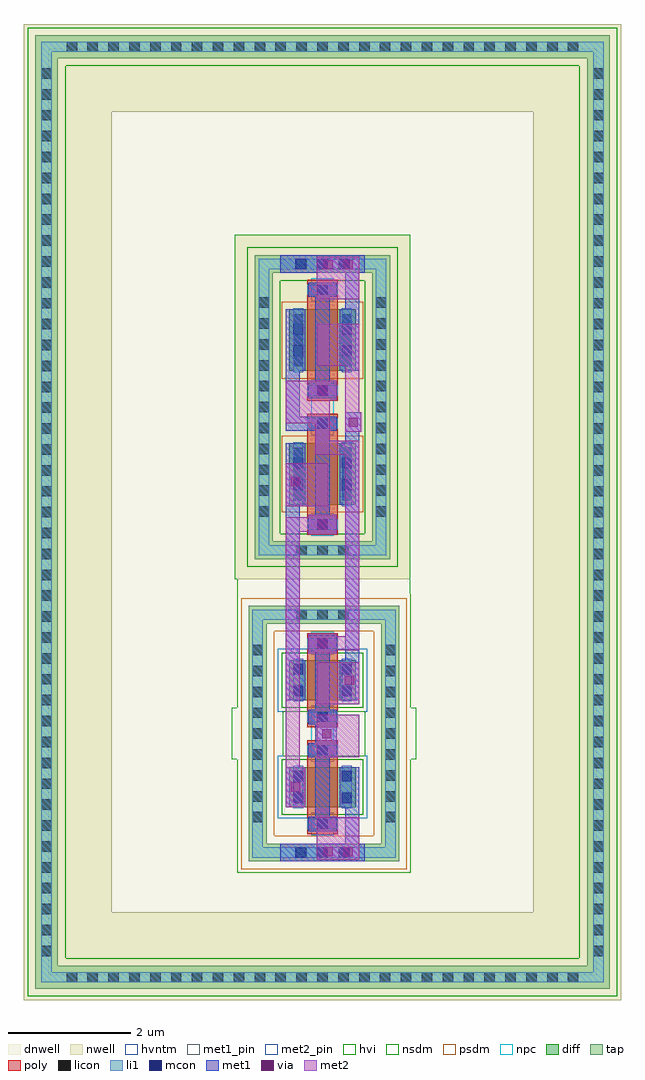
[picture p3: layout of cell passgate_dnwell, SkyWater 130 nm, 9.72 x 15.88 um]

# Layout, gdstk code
from math import pi, radians
import gdstk
lib = gdstk.Library(unit=1e-6, precision=1e-09)
def R(c, l, rs):  # rectangles x0, y0, x1, y1
    for r in rs: c.add(gdstk.rectangle(r[:2], r[2:], *l))
def A(c, l, x, y, w, h, nx, ny, dx, dy):  # array of equal rectangles
    R(c, l, [(x+i*dx, y+j*dy, x+i*dx+w, y+j*dy+h) for i in range(nx) for j in range(ny)])
dnwell = (64, 18)
nwell = (64, 20)
diff = (65, 20)
tap = (65, 44)
poly = (66, 20)
licon = (66, 44)
li1 = (67, 20)
mcon = (67, 44)
met1_pin = (68, 16)
met1 = (68, 20)
via = (68, 44)
met2_pin = (69, 16)
met2 = (69, 20)
hvi = (75, 20)
nsdm = (93, 44)
psdm = (94, 20)
npc = (95, 20)
hvntm = (125, 20)

transistor_quartet_singl = lib.new_cell('transistor_quartet_single')
R(transistor_quartet_singl, nwell, [(-0.24,4.77,2.62,10.38)])
R(transistor_quartet_singl, diff, [(0.65,1.065,1.73,1.715), (0.65,2.805,1.73,3.455), (0.65,5.985,1.73,6.985), (0.65,8.165,1.73,9.165)])
R(transistor_quartet_singl, tap, [(-0.01,0.18,2.44,0.47), (-0.01,0.47,0.28,4.05), (2.15,0.47,2.44,4.05), (-0.01,4.05,2.44,4.34), (0.09,5.1,2.29,5.39), (0.09,5.39,0.38,9.76), (2,5.39,2.29,9.76), (0.09,9.76,2.29,10.05)])
R(transistor_quartet_singl, poly, [(0.94,0.625,1.44,2.155), (0.94,2.365,1.44,3.895), (0.94,5.5,1.44,7.47), (0.94,7.68,1.44,9.65)])
A(transistor_quartet_singl, licon, 0.765, 0.24, 0.17, 0.17, 3, 2, 0.34, 3.87)
A(transistor_quartet_singl, licon, 0.05, 0.815, 0.17, 0.17, 1, 9, 0, 0.34)
A(transistor_quartet_singl, licon, 2.21, 0.815, 0.17, 0.17, 1, 9, 0, 0.34)
A(transistor_quartet_singl, licon, 0.765, 5.16, 0.17, 0.17, 3, 2, 0.34, 4.66)
A(transistor_quartet_singl, licon, 0.15, 5.79, 0.17, 0.17, 1, 11, 0, 0.34)
A(transistor_quartet_singl, licon, 2.06, 5.79, 0.17, 0.17, 1, 11, 0, 0.34)
A(transistor_quartet_singl, licon, 0.71, 6.06, 0.17, 0.17, 1, 3, 0, 0.34)
A(transistor_quartet_singl, licon, 1.5, 6.06, 0.17, 0.17, 1, 3, 0, 0.34)
A(transistor_quartet_singl, licon, 0.71, 8.24, 0.17, 0.17, 1, 3, 0, 0.34)
A(transistor_quartet_singl, licon, 1.5, 8.24, 0.17, 0.17, 1, 3, 0, 0.34)
R(transistor_quartet_singl, licon, [(1.105,0.705,1.275,0.875), (0.71,1.135,0.88,1.305), (1.5,1.135,1.67,1.305), (0.71,1.475,0.88,1.645), (1.5,1.475,1.67,1.645), (1.105,1.905,1.275,2.075), (1.105,2.445,1.275,2.615), (0.71,2.875,0.88,3.045), (1.5,2.875,1.67,3.045), (0.71,3.215,0.88,3.385), (1.5,3.215,1.67,3.385), (1.105,3.645,1.275,3.815), (1.105,5.58,1.275,5.75), (1.105,7.22,1.275,7.39), (1.105,7.76,1.275,7.93), (1.105,9.4,1.275,9.57)])
R(transistor_quartet_singl, li1, [(0.05,0.24,2.38,0.41), (0.05,0.41,0.22,4.11), (2.21,0.41,2.38,4.11), (0.94,0.705,1.44,0.875), (0.71,1.045,0.88,1.735), (1.5,1.045,1.67,1.735), (0.94,1.905,1.44,2.075), (0.94,2.445,1.44,2.615), (0.71,2.785,0.88,3.475), (1.5,2.785,1.67,3.475), (0.94,3.645,1.44,3.815), (0.05,4.11,2.38,4.28), (0.15,5.16,2.23,5.33), (0.15,5.33,0.32,9.82), (2.06,5.33,2.23,9.82), (0.94,5.58,1.44,5.75), (0.71,5.965,0.88,7.005), (1.5,5.965,1.67,7.005), (0.94,7.22,1.44,7.39), (0.94,7.76,1.44,7.93), (0.71,8.145,0.88,9.185), (1.5,8.145,1.67,9.185), (0.94,9.4,1.44,9.57), (0.15,9.82,2.23,9.99)])
A(transistor_quartet_singl, mcon, 0.745, 0.24, 0.17, 0.17, 3, 2, 0.36, 9.58)
R(transistor_quartet_singl, mcon, [(1.105,0.705,1.275,0.875), (0.71,1.125,0.88,1.295), (1.5,1.125,1.67,1.295), (0.71,1.485,0.88,1.655), (1.5,1.485,1.67,1.655), (1.105,1.905,1.275,2.075), (1.105,2.445,1.275,2.615), (0.71,2.865,0.88,3.035), (1.5,2.865,1.67,3.035), (0.71,3.225,0.88,3.395), (1.5,3.225,1.67,3.395), (1.105,3.645,1.275,3.815), (1.105,5.58,1.275,5.75), (0.71,6.22,0.88,6.39), (1.5,6.22,1.67,6.39), (0.71,6.58,0.88,6.75), (1.5,6.58,1.67,6.75), (1.105,7.22,1.275,7.39), (1.105,7.76,1.275,7.93), (0.71,8.4,0.88,8.57), (1.5,8.4,1.67,8.57), (0.71,8.76,0.88,8.93), (1.5,8.76,1.67,8.93), (1.105,9.4,1.275,9.57)])
R(transistor_quartet_singl, met1_pin, [(0.5,0.18,1.88,0.47), (0.5,9.76,1.88,10.05)])
R(transistor_quartet_singl, met1, [(0.5,0.18,1.88,0.47), (0.96,0.675,1.42,0.905), (1.105,0.905,1.275,1.875), (0.68,1.065,0.91,1.715), (1.47,1.065,1.7,1.715), (0.96,1.875,1.42,2.105), (0.96,2.415,1.42,2.645), (1.105,2.645,1.275,3.615), (0.68,2.805,0.91,3.455), (1.47,2.805,1.7,3.455), (0.96,3.615,1.42,3.845), (0.96,5.55,1.42,5.78), (1.105,5.78,1.275,7.19), (0.68,5.985,0.91,6.985), (1.47,5.985,1.7,6.985), (0.96,7.19,1.42,7.42), (0.96,7.73,1.42,7.96), (1.105,7.96,1.275,9.37), (0.68,8.165,0.91,9.165), (1.47,8.165,1.7,9.165), (0.96,9.37,1.42,9.6), (0.5,9.76,1.88,10.05)])
R(transistor_quartet_singl, hvi, [(-0.195,-0.005,2.625,1.84), (-0.285,1.84,2.715,1.9), (-0.285,1.9,0.555,2.62), (1.875,1.9,2.715,2.62), (-0.285,2.62,2.715,2.68), (-0.195,2.68,2.625,4.525), (-0.195,4.525,2.62,4.77), (-0.24,4.77,2.62,10.38)])
R(transistor_quartet_singl, nsdm, [(0.525,0.94,1.855,1.84), (0.525,2.68,1.855,3.58), (-0.035,4.975,2.415,5.515), (-0.035,5.515,0.505,9.635), (1.875,5.515,2.415,9.635), (-0.035,9.635,2.415,10.175)])
R(transistor_quartet_singl, psdm, [(-0.135,0.055,2.565,0.595), (-0.135,0.595,0.405,3.925), (2.025,0.595,2.565,3.925), (-0.135,3.925,2.565,4.465), (0.525,5.86,1.855,7.11), (0.525,8.04,1.855,9.29)])
R(transistor_quartet_singl, npc, [(1.005,0.605,1.375,0.975), (1.005,1.805,1.375,2.715), (1.005,3.545,1.375,3.915), (1.005,5.48,1.375,5.85), (1.005,7.12,1.375,8.03), (1.005,9.3,1.375,9.67)])
R(transistor_quartet_singl, hvntm, [(0.465,0.88,1.915,1.9), (0.465,2.62,1.915,3.64)])
transistor_quartet_singl.add(gdstk.Label('VDD', (1.19,9.905), layer=68, texttype=5))
transistor_quartet_singl.add(gdstk.Label('VSS', (1.19,0.325), layer=68, texttype=5))

passgate = lib.new_cell('passgate')
R(passgate, met1, [(0.59,0.21,1.42,0.44), (0.59,0.44,1.28,0.47), (0.59,0.47,0.82,1.715), (1.075,0.775,1.305,1.965), (1.56,1.065,1.79,1.095), (1.47,1.095,1.79,1.685), (1.56,1.685,1.79,1.715), (0.96,1.965,1.305,2.555), (1.075,2.555,1.305,3.6), (0.59,2.805,0.82,2.835), (1.56,2.805,1.79,6.045), (0.59,2.835,0.91,3.425), (0.59,3.425,0.82,7.17), (0.96,3.6,1.42,3.86), (0.96,5.505,1.42,5.825), (1.075,5.825,1.305,7.19), (1.5,6.045,1.79,6.07), (1.47,6.07,1.79,6.66), (1.56,6.66,1.79,6.99), (0.56,7.17,0.82,7.49), (1.075,7.19,1.79,7.42), (1.56,7.42,1.79,9.17), (0.96,7.715,1.42,7.975), (1.075,7.975,1.305,9.5), (0.59,8.165,0.82,9.76), (0.59,9.76,1.28,9.79), (0.59,9.79,1.42,10.02)])
R(passgate, via, [(0.7,0.265,0.85,0.415), (1.02,0.265,1.17,0.415), (1.555,1.315,1.705,1.465), (1.045,2.185,1.195,2.335), (0.675,3.055,0.825,3.205), (1.115,3.655,1.265,3.805), (1.115,5.59,1.265,5.74), (1.555,6.29,1.705,6.44), (0.615,7.255,0.765,7.405), (1.115,7.77,1.265,7.92), (0.7,9.815,0.85,9.965), (1.02,9.815,1.17,9.965)])
R(passgate, met2_pin, [(0.59,0.21,1.28,0.9), (0.59,1.875,1.28,2.565), (0.59,2.735,1.28,3.425), (1.1,5.965,1.79,6.655), (0.59,9.33,1.28,10.02)])
R(passgate, met2, [(0.59,0.21,1.28,0.9), (1.47,1.065,1.79,1.715), (1.56,1.715,1.79,5.55), (0.59,1.875,1.28,2.565), (0.59,2.735,1.28,3.425), (0.96,3.57,1.42,3.615), (0.59,3.615,1.42,3.845), (0.59,3.845,0.82,6.8), (0.96,3.845,1.42,3.89), (0.96,5.505,1.42,5.55), (0.96,5.55,1.79,5.78), (0.96,5.78,1.42,5.825), (1.1,5.965,1.79,6.66), (0.59,6.8,1.305,7.03), (1.075,7.03,1.305,7.315), (0.56,7.17,0.82,7.49), (1.075,7.315,1.79,7.685), (0.59,7.49,0.82,8.245), (0.96,7.685,1.79,8.005), (0.59,8.245,1.28,8.935), (0.59,9.33,1.28,10.02)])
passgate.add(gdstk.Label('EN', (0.935,2.22), layer=69, texttype=5))
passgate.add(gdstk.Label('UA', (0.935,3.08), layer=69, texttype=5))
passgate.add(gdstk.Label('UB', (1.445,6.31), layer=69, texttype=5))
passgate.add(gdstk.Label('VDD', (0.935,9.675), layer=69, texttype=5))
passgate.add(gdstk.Label('VSS', (0.935,0.555), layer=69, texttype=5))

passgate_single = lib.new_cell('passgate_single')
passgate_single.add(gdstk.Reference(transistor_quartet_singl, (0,0)))
passgate_single.add(gdstk.Reference(passgate, (2.38,0), rotation=pi, x_reflection=True))

passgate_dnwell = lib.new_cell('passgate_dnwell')
R(passgate_dnwell, dnwell, [(-3.27,-1.675,5.65,13.41)])
R(passgate_dnwell, nwell, [(-3.67,-2.075,6.05,-0.645), (-3.67,-0.645,-2.24,12.38), (4.62,-0.645,6.05,12.38), (-3.67,12.38,6.05,13.81)])
R(passgate_dnwell, tap, [(-3.485,-1.89,5.865,-1.52), (-3.485,-1.52,-3.115,13.255), (5.495,-1.52,5.865,13.255), (-3.485,13.255,5.865,13.625)])
A(passgate_dnwell, licon, -2.975, -1.79, 0.17, 0.17, 25, 2, 0.34, 15.145)
A(passgate_dnwell, licon, -3.385, -1.36, 0.17, 0.17, 1, 43, 0, 0.34)
A(passgate_dnwell, licon, 5.595, -1.36, 0.17, 0.17, 1, 43, 0, 0.34)
R(passgate_dnwell, li1, [(-3.385,-1.79,5.765,-1.62), (-3.385,-1.62,-3.215,13.355), (5.595,-1.62,5.765,13.355), (-3.385,13.355,5.765,13.525)])
R(passgate_dnwell, nsdm, [(-3.61,-2.015,5.99,-1.395), (-3.61,-1.395,-2.99,13.13), (5.37,-1.395,5.99,13.13), (-3.61,13.13,5.99,13.75)])
passgate_dnwell.add(gdstk.Reference(passgate_single, (0,0)))

lib.write_gds('passgate_dnwell.gds')
